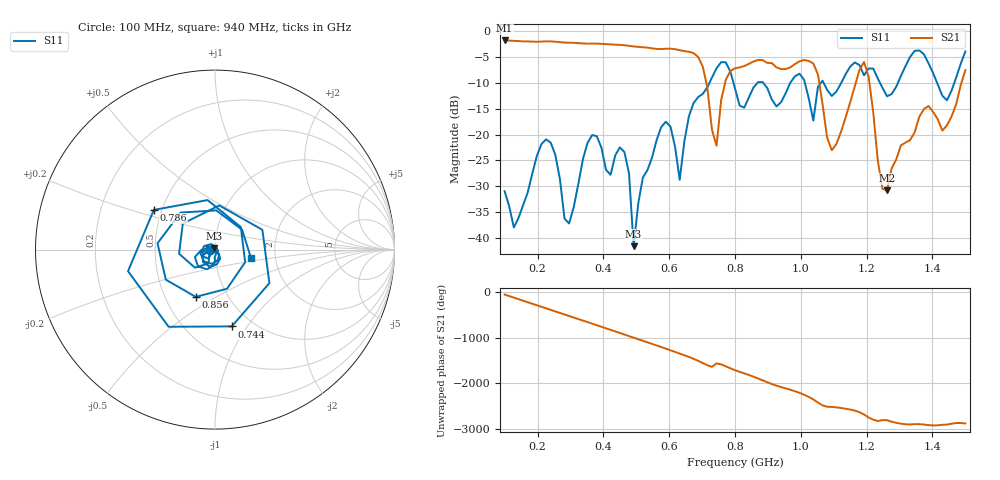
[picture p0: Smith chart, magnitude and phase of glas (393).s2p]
! NanoVNA-App
! Date: 2025-09-25 15:58:32
! Start: 100MHz Stop: 1,5GHz Points: 101
! S-Parameter data: F S11 S21 S12 S22
# Hz S RI R 50
!  Frequency  S11_Real  S11_Imag  S21_Real  S21_Imag  S12_Real  S12_Imag  S22_Real  S22_Imag
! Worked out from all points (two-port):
!   101 points, 100 MHz to 1.5 GHz, reference 50 ohm
!   highest |S21| = -1.80 dB at 100 MHz (marker M1); lowest = -30.8 dB at 1.262 GHz (marker M2)
!   |S21| within 3 dB of the highest: start of sweep to 684.4 MHz
!   lowest |S11| = -41.6 dB at 492 MHz (marker M3), VSWR 1.02, Z = 49.5 + j0.647 ohm
!   |S11| at or under -10 dB: start of sweep to 722.4 MHz; 795.3 MHz to 868.2 MHz (72.84 MHz wide, 8.76 % of centre); 885.9 MHz to 967.8 MHz (81.89 MHz wide, 8.83 % of centre) (the widest 3 of 7)
!   S12 and S22 are empty: the file has one direction only
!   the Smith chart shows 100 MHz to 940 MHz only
!   S11 on the Smith chart (normalised r, x): 100 MHz: 0.95, -0.01; 744 MHz: 0.80, -0.85; 786 MHz: 0.45, +0.24; 856 MHz: 0.71, -0.41; 940 MHz: 1.49, -0.14
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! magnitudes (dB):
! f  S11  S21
! 100 MHz  -30.9  -1.8
! 128 MHz  -37.9  -1.9
! 226 MHz  -20.9  -2.0
! 296 MHz  -37.2  -2.2
! 338 MHz  -24.7  -2.4
! 464 MHz  -23.4  -2.7
! 492 MHz  -41.6  -3.0
! 576 MHz  -18.5  -3.5
! 632 MHz  -28.7  -3.7
! 702 MHz  -12.1  -6.8
! 744 MHz  -7.2  -22.1
! 786 MHz  -7.8  -7.7
! 800 MHz  -11.1  -7.2
! 856 MHz  -10.9  -5.9
! 940 MHz  -13.7  -7.3
! 996 MHz  -8.2  -5.8
! 1.038 GHz  -17.3  -6.3
! 1.094 GHz  -12.5  -23.0
! 1.192 GHz  -8.5  -6.0
! 1.262 GHz  -12.6  -30.8
! 1.276 GHz  -12.1  -26.5
! 1.5 GHz  -3.9  -7.5
